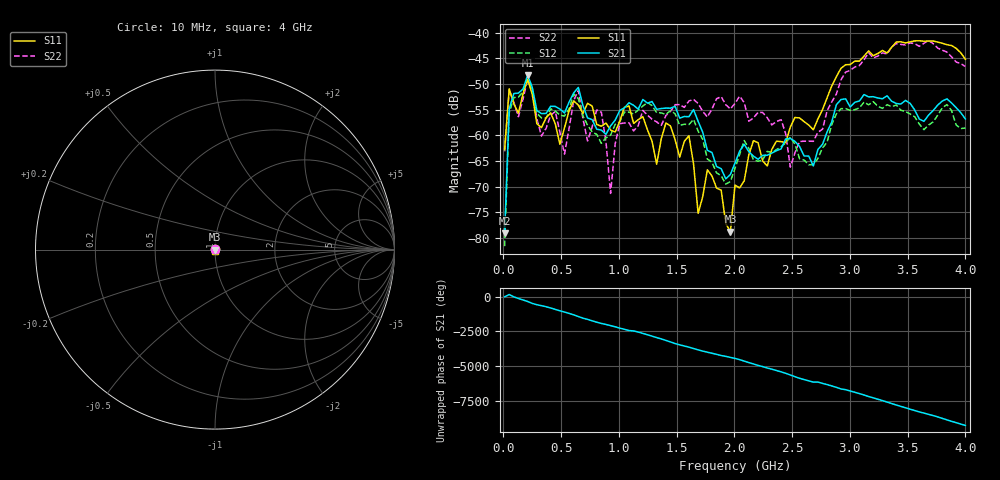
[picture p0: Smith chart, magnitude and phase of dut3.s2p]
! PocketVna 1.81  pocketvna.com
! Live measurements ((Reflection-S11, Transmission-S21, Transmission-S12, Reflection-S22) Linear 10000000-4000000000/101 non-calibrated)
# GHz S MA R 50
! GHz  |S11|  <S11  |S21|  <S21  |S12|  <S12  |S22|  <S22
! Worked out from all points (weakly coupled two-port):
!   101 points, 10 MHz to 4 GHz, reference 50 ohm
!   highest |S21| = -48.26 dB at 209.5 MHz (marker M1); lowest = -79.1 dB at 10 MHz (marker M2)
!   lowest |S11| = -78.7 dB at 1.965 GHz (marker M3), VSWR 1.00, Z = 50 - j0.011 ohm
!   |S11| at or under -10 dB: start of sweep to end of sweep
!   |S22| runs from -71.3 to -41.5 dB; largest |S21 - S12| = 0.0038
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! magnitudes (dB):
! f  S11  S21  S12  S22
! 10 MHz  -62.8  -79.1  -81.6  -63.1
! 49.9 MHz  -50.9  -54.8  -55.6  -51.2
! 209.5 MHz  -49.1  -48.3  -49.1  -49.0
! 289.3 MHz  -57.7  -55.2  -55.7  -56.7
! 528.7 MHz  -58.5  -55.6  -56.2  -63.6
! 648.4 MHz  -54.1  -50.6  -52.9  -51.2
! 688.3 MHz  -55.7  -54.2  -56.2  -56.7
! 847.9 MHz  -58.2  -59.0  -61.5  -55.5
! 927.7 MHz  -59.0  -58.1  -59.9  -71.3
! 1.008 GHz  -57.2  -55.1  -57.3  -57.7
! 1.367 GHz  -60.6  -54.8  -55.6  -58.0
! 1.606 GHz  -60.1  -56.4  -57.9  -53.3
! 1.686 GHz  -75.2  -57.3  -59.2  -53.8
! 1.766 GHz  -66.7  -62.9  -64.6  -56.4
! 1.965 GHz  -78.7  -67.6  -69.0  -54.8
! 2.005 GHz  -69.7  -65.4  -66.4  -53.8
! 2.404 GHz  -61.2  -62.6  -62.2  -56.9
! 2.484 GHz  -58.4  -60.6  -60.3  -66.2
! 2.683 GHz  -58.9  -65.9  -65.7  -61.1
! 2.923 GHz  -46.9  -53.0  -54.8  -49.2
! 3.362 GHz  -42.8  -53.3  -54.4  -42.7
! 4 GHz  -45.2  -56.8  -58.6  -46.6
